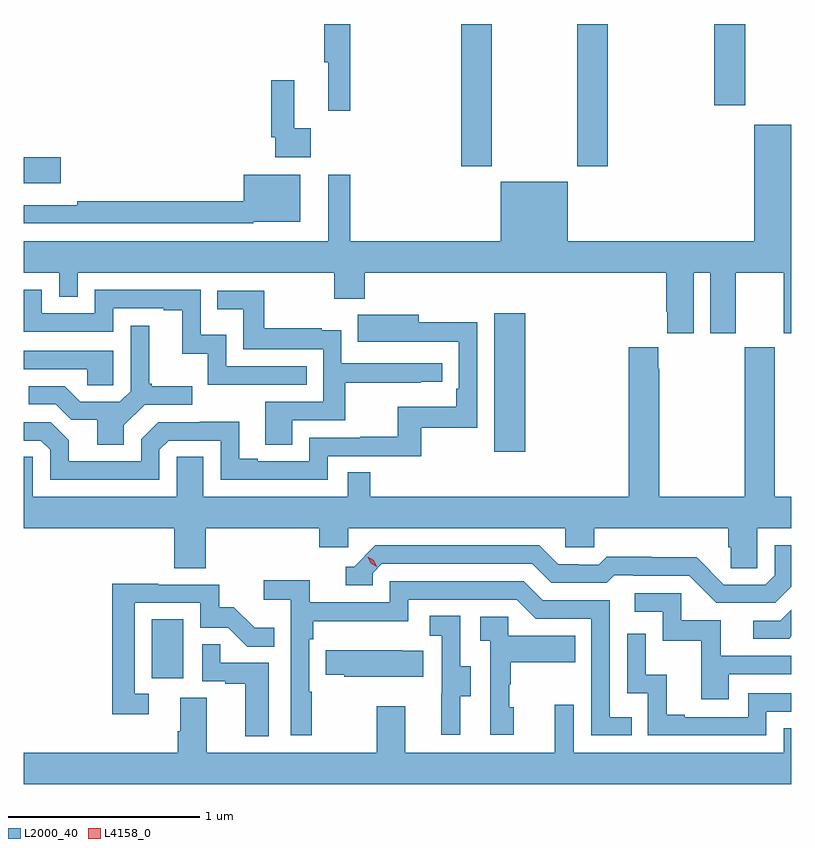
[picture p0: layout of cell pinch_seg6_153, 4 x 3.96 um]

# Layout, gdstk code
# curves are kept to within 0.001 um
import gdstk
lib = gdstk.Library(unit=1e-6, precision=1e-09)
def R(c, l, rs):  # rectangles x0, y0, x1, y1
    for r in rs: c.add(gdstk.rectangle(r[:2], r[2:], *l))
def P(c, l, *ps):  # polygons
    for p in ps: c.add(gdstk.Polygon(p, *l))
L2000_40 = (2000, 40)
L4158_0 = (4158, 0)

pinch_seg6_153 = lib.new_cell('pinch_seg6_153')
R(pinch_seg6_153, L2000_40, [(997.376,934.566,997.54,934.873), (999.161,935.748,999.322,936.469), (996.708,937.145,996.901,937.28), (998.987,937.233,999.147,937.975), (999.592,937.233,999.752,937.975), (1000.307,937.551,1000.467,937.975)])
P(pinch_seg6_153, L2000_40, [(998.411,937.975),(998.275,937.975),(998.275,937.776),(998.294,937.776),(998.294,937.524),(998.411,937.524)],
  [(998.203,937.433),(998.117,937.433),(998.117,937.681),(997.999,937.681),(997.999,937.384),(998.019,937.384),(998.019,937.28),(998.203,937.28)],
  [(1000.198,936.68),(1000.286,936.68),(1000.286,936.363),(1000.417,936.363),(1000.417,936.68),(1000.667,936.68),(1000.667,936.363),(1000.708,936.363),(1000.708,937.45),(1000.514,937.45),(1000.514,936.844),(999.544,936.844),(999.544,937.153),(999.194,937.153),(999.194,936.844),(998.411,936.844),(998.411,937.189),(998.294,937.189),(998.294,936.844),(996.708,936.844),(996.708,936.68),(996.894,936.68),(996.894,936.553),(996.99,936.553),(996.99,936.68),(998.326,936.68),(998.326,936.545),(998.486,936.545),(998.486,936.68),(1000.055,936.68),(1000.055,936.475),(1000.061,936.475),(1000.061,936.363),(1000.198,936.363)],
  [(997.905,936.944),(998.149,936.944),(998.149,937.189),(997.856,937.189),(997.856,937.052),(996.988,937.052),(996.988,937.032),(996.708,937.032),(996.708,936.936),(997.905,936.936)],
  [(998.183,936.192),(997.764,936.192),(997.764,936.355),(997.632,936.355),(997.632,936.591),(997.08,936.591),(997.08,936.468),(996.804,936.468),(996.804,936.591),(996.708,936.591),(996.708,936.372),(997.176,936.372),(997.176,936.495),(997.439,936.495),(997.439,936.483),(997.535,936.483),(997.535,936.257),(997.668,936.257),(997.668,936.096),(998.183,936.096)],
  [(998.107,935.91),(998.384,935.91),(998.384,936.106),(998.777,936.106),(998.777,936.111),(998.89,936.111),(998.89,936.207),(998.364,936.207),(998.364,936.379),(998.261,936.379),(998.261,936.391),(997.963,936.391),(997.963,936.585),(997.717,936.585),(997.717,936.488),(997.852,936.488),(997.852,936.282),(998.268,936.282),(998.268,936.006),(997.967,936.006),(997.967,935.782),(998.107,935.782)],
  [(997.416,935.757),(997.464,935.805),(997.734,935.805),(997.734,935.601),(998.292,935.601),(998.292,935.724),(998.779,935.724),(998.779,935.871),(999.072,935.871),(999.072,936.422),(998.767,936.422),(998.767,936.46),(998.449,936.46),(998.449,936.32),(998.976,936.321),(998.976,936.076),(998.963,936.076),(998.963,935.98),(998.658,935.98),(998.658,935.825),(998.461,935.825),(998.461,935.82),(998.196,935.82),(998.196,935.697),(997.927,935.697),(997.927,935.71),(997.831,935.71),(997.831,935.903),(997.626,935.903),(997.626,935.901),(997.41,935.901),(997.32,935.811),(997.32,935.697),(996.943,935.697),(996.943,935.807),(996.849,935.901),(996.708,935.901),(996.708,935.805),(996.798,935.805),(996.846,935.757),(996.846,935.601),(997.416,935.601)],
  [(997.231,935.884),(997.338,935.991),(997.588,935.991),(997.588,936.088),(997.375,936.088),(997.375,936.1),(997.363,936.1),(997.363,936.403),(997.266,936.403),(997.266,936.063),(997.209,936.006),(997.003,936.006),(996.922,936.087),(996.735,936.087),(996.735,935.994),(996.876,935.994),(996.956,935.914),(997.091,935.914),(997.091,935.782),(997.231,935.782)],
  [(997.658,935.348),(998.249,935.348),(998.249,935.25),(998.4,935.25),(998.4,935.348),(999.531,935.348),(999.531,935.25),(999.681,935.25),(999.681,935.348),(1000.379,935.348),(1000.379,935.25),(1000.393,935.25),(1000.393,935.14),(1000.53,935.14),(1000.53,935.348),(1000.708,935.348),(1000.708,935.512),(1000.62,935.512),(1000.62,936.292),(1000.465,936.292),(1000.465,935.512),(1000.02,935.512),(1000.02,936.179),(1000.015,936.179),(1000.015,936.292),(999.86,936.292),(999.86,935.512),(998.513,935.512),(998.513,935.639),(998.397,935.639),(998.397,935.512),(997.645,935.512),(997.645,935.72),(997.506,935.72),(997.506,935.512),(996.756,935.512),(996.756,935.72),(996.708,935.72),(996.708,935.348),(997.493,935.348),(997.493,935.14),(997.658,935.14)],
  [(997.176,936.273),(996.708,936.273),(996.708,936.177),(997.039,936.177),(997.039,936.093),(997.176,936.093)],
  [(1000.708,935.044),(1000.708,935.259),(1000.62,935.259),(1000.62,935.103),(1000.572,935.055),(1000.356,935.055),(1000.214,935.197),(999.978,935.197),(999.978,935.2),(999.745,935.2),(999.703,935.157),(999.6,935.157),(999.6,935.16),(999.493,935.16),(999.394,935.259),(998.541,935.259),(998.43,935.148),(998.387,935.148),(998.387,935.052),(998.526,935.052),(998.526,935.115),(998.574,935.163),(999.357,935.163),(999.456,935.064),(999.745,935.064),(999.784,935.103),(999.883,935.103),(999.883,935.1),(1000.176,935.1),(1000.317,934.959),(1000.623,934.959)],
  [(998.209,934.496),(998.196,934.496),(998.196,934.769),(998.216,934.769),(998.216,934.865),(998.712,934.865),(998.712,934.977),(999.276,934.977),(999.375,934.878),(999.666,934.878),(999.666,934.269),(999.875,934.269),(999.875,934.365),(999.762,934.365),(999.762,934.974),(999.412,934.974),(999.313,935.073),(998.616,935.073),(998.616,934.962),(998.198,934.962),(998.198,935.078),(997.959,935.078),(997.959,934.976),(998.1,934.976),(998.1,934.269),(998.209,934.269)],
  [(997.36,934.485),(997.287,934.485),(997.287,934.959),(997.629,934.959),(997.629,934.83),(997.774,934.83),(997.872,934.732),(998.015,934.732),(998.015,934.831),(997.911,934.831),(997.804,934.938),(997.728,934.938),(997.728,935.055),(997.409,935.055),(997.409,935.06),(997.171,935.06),(997.171,934.38),(997.36,934.38)],
  [(1000.381,934.587),(1000.708,934.587),(1000.708,934.683),(1000.339,934.683),(1000.339,934.869),(1000.134,934.869),(1000.134,935.01),(999.891,935.01),(999.891,934.914),(1000.038,934.914),(1000.038,934.761),(1000.237,934.761),(1000.237,934.458),(1000.381,934.458)],
  [(1000.708,934.785),(1000.708,934.924),(1000.65,934.866),(1000.509,934.866),(1000.509,934.773),(1000.696,934.773)],
  [(998.983,934.474),(999.037,934.474),(999.037,934.629),(998.982,934.629),(998.982,934.892),(998.823,934.892),(998.823,934.789),(998.886,934.789),(998.886,934.485),(998.885,934.485),(998.885,934.272),(998.983,934.272)],
  [(999.262,934.416),(999.237,934.416),(999.237,934.535),(999.247,934.535),(999.247,934.649),(999.581,934.649),(999.581,934.789),(999.234,934.789),(999.234,934.887),(999.087,934.887),(999.087,934.763),(999.138,934.763),(999.138,934.272),(999.262,934.272)],
  [(1000.578,934.392),(1000.708,934.392),(1000.708,934.488),(1000.482,934.488),(1000.482,934.365),(1000.153,934.365),(1000.153,934.378),(1000.058,934.378),(1000.058,934.586),(999.948,934.586),(999.948,934.798),(999.852,934.798),(999.852,934.488),(999.96,934.488),(999.96,934.269),(1000.578,934.269)],
  [(997.984,934.647),(997.733,934.647),(997.733,934.745),(997.638,934.745),(997.638,934.551),(997.759,934.551),(997.759,934.539),(997.862,934.539),(997.862,934.265),(997.984,934.265)],
  [(998.789,934.711),(998.681,934.711),(998.681,934.714),(998.281,934.714),(998.281,934.585),(998.379,934.585),(998.379,934.574),(998.789,934.574)],
  [(1000.708,934.307),(1000.668,934.307),(1000.668,934.18),(999.573,934.18),(999.573,934.429),(999.476,934.429),(999.476,934.18),(998.695,934.18),(998.695,934.42),(998.548,934.42),(998.548,934.18),(997.663,934.18),(997.663,934.466),(997.523,934.466),(997.523,934.292),(997.511,934.292),(997.511,934.18),(996.708,934.18),(996.708,934.016),(1000.708,934.016)])
P(pinch_seg6_153, L4158_0, [(998.548,935.148),(998.517,935.167),(998.501,935.2),(998.501,935.2),(998.502,935.2),(998.532,935.181),(998.548,935.148),(998.548,935.148)])

lib.write_gds('pinch_seg6_153.gds')
